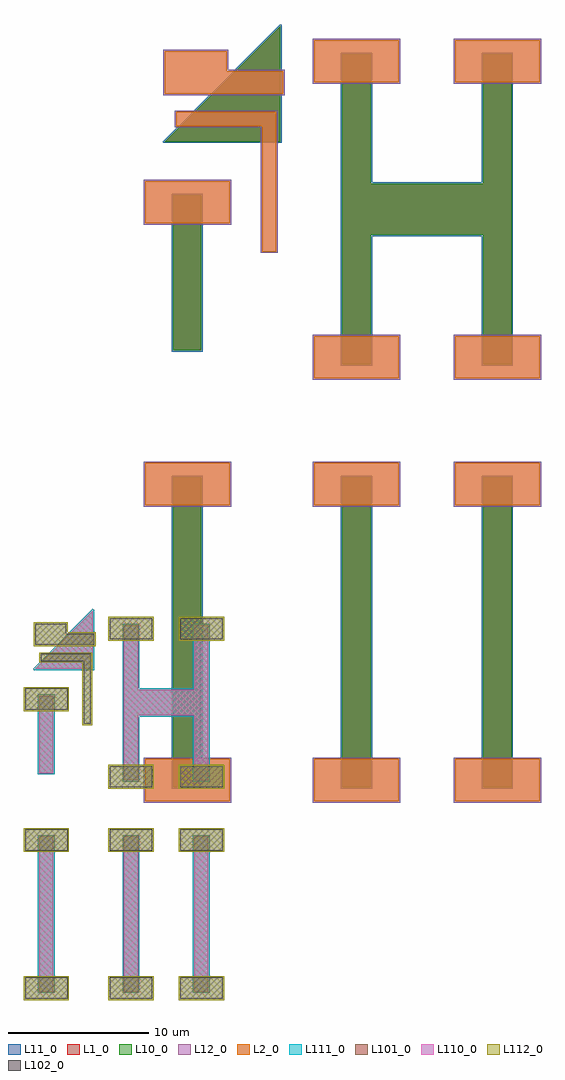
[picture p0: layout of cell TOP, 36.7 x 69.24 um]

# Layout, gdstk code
import gdstk
lib = gdstk.Library(unit=1e-6, precision=1e-09)
def R(c, l, rs):  # rectangles x0, y0, x1, y1
    for r in rs: c.add(gdstk.rectangle(r[:2], r[2:], *l))
def P(c, l, *ps):  # polygons
    for p in ps: c.add(gdstk.Polygon(p, *l))
L1_0 = (1, 0)
L2_0 = (2, 0)
L10_0 = (10, 0)
L11_0 = (11, 0)
L12_0 = (12, 0)
L101_0 = (101, 0)
L102_0 = (102, 0)
L110_0 = (110, 0)
L111_0 = (111, 0)
L112_0 = (112, 0)

top = lib.new_cell('TOP')
R(top, L1_0, [(9,9,11,20), (21,9,23,20), (31,9,33,20), (9,20,11,31), (21,20,23,31), (31,20,33,31), (21,39,23,50), (31,39,33,50), (9,40,11,51), (21.6,48.2,32.2,51.8), (21,50,23,61), (31,50,33,61)])
P(top, L1_0, [(8.4,54.8),(16.6,63),(16.6,54.8)])
R(top, L2_0, [(7,8,13,11), (19,8,25,11), (29,8,35,11), (7,29,13,32), (19,29,25,32), (29,29,35,32), (19,38,25,41), (29,38,35,41), (7,49,13,52), (19,59,25,62), (29,59,35,62)])
P(top, L2_0, [(8.4,58.2),(8.4,61.2),(12.8,61.2),(12.8,59.8),(16.8,59.8),(16.8,58.2)])
R(top, L10_0, [(9,9,11,16), (21,9,23,16), (31,9,33,16), (9,16,11,26), (21,16,23,26), (31,16,33,26), (9,26,11,31), (21,26,23,31), (31,26,33,31), (21,39,23,46), (31,39,33,46), (9,40,11,46), (9,46,11,51), (15.7,54.8,16.6,56), (21,56,23,61), (31,56,33,61)])
P(top, L10_0, [(8.4,54.8),(9.6,56),(15.7,56),(15.7,54.8)],
  [(9.6,56),(15.7,62.1),(15.7,56)],
  [(21,46),(21,56),(23,56),(23,51.8),(25.7,51.8),(25.7,48.2),(23,48.2),(23,46)],
  [(15.7,56),(15.7,62.1),(16.6,63),(16.6,56)],
  [(31,46),(31,48.2),(25.7,48.2),(25.7,51.8),(31,51.8),(31,56),(33,56),(33,46)])
R(top, L11_0, [(8.9,8.9,11.1,16), (20.9,8.9,23.1,16), (30.9,8.9,33.1,16), (8.9,16,11.1,26), (20.9,16,23.1,26), (30.9,16,33.1,26), (8.9,26,11.1,31.1), (20.9,26,23.1,31.1), (30.9,26,33.1,31.1), (20.9,38.9,23.1,46), (30.9,38.9,33.1,46), (8.9,39.9,11.1,46), (8.9,46,11.1,51.1), (15.7,54.7,16.7,56), (20.9,56,23.1,61.1), (30.9,56,33.1,61.1)])
P(top, L11_0, [(8.3,54.7),(8.258,54.8),(9.458,56),(15.7,56),(15.7,54.7)],
  [(9.458,56),(15.7,62.242),(15.7,56)],
  [(20.9,46),(20.9,56),(23.1,56),(23.1,51.9),(25.7,51.9),(25.7,48.1),(23.1,48.1),(23.1,46)],
  [(15.7,56),(15.7,62.242),(16.6,63.142),(16.7,63.1),(16.7,56)],
  [(30.9,46),(30.9,48.1),(25.7,48.1),(25.7,51.9),(30.9,51.9),(30.9,56),(33.1,56),(33.1,46)])
R(top, L12_0, [(6.9,7.9,13.1,11.1), (18.9,7.9,25.1,11.1), (28.9,7.9,35.1,11.1), (6.9,28.9,13.1,32.1), (18.9,28.9,25.1,32.1), (28.9,28.9,35.1,32.1), (18.9,37.9,25.1,41.1), (28.9,37.9,35.1,41.1), (15.2,46.9,16,55), (16,46.9,16.4,55), (6.9,48.9,13.1,52.1), (16,55,16.4,57), (16,58.1,16.9,59.9), (18.9,58.9,25.1,62.1), (28.9,58.9,35.1,62.1)])
P(top, L12_0, [(15.2,55),(15.2,55.8),(9.1,55.8),(9.1,57),(16,57),(16,55)],
  [(8.3,58.1),(8.3,61.3),(12.9,61.3),(12.9,59.9),(16,59.9),(16,58.1)])
R(top, L101_0, [(-0.5,-5.5,0.5,0), (5.5,-5.5,6.5,0), (10.5,-5.5,11.5,0), (-0.5,0,0.5,5.5), (5.5,0,6.5,5.5), (10.5,0,11.5,5.5), (5.5,9.5,6.5,15), (10.5,9.5,11.5,15), (-0.5,10,0.5,15.5), (5.8,14.1,11.1,15.9), (5.5,15,6.5,20.5), (10.5,15,11.5,20.5)])
P(top, L101_0, [(-0.8,17.4),(3.3,21.5),(3.3,17.4)])
R(top, L102_0, [(-1.5,-6,1.5,-4.5), (4.5,-6,7.5,-4.5), (9.5,-6,12.5,-4.5), (-1.5,4.5,1.5,6), (4.5,4.5,7.5,6), (9.5,4.5,12.5,6), (4.5,9,7.5,10.5), (9.5,9,12.5,10.5), (-1.5,14.5,1.5,16), (4.5,19.5,7.5,21), (9.5,19.5,12.5,21)])
P(top, L102_0, [(-0.8,19.1),(-0.8,20.6),(1.4,20.6),(1.4,19.9),(3.4,19.9),(3.4,19.1)])
R(top, L110_0, [(-0.5,-5.5,0.5,3), (5.5,-5.5,6.5,3), (10.5,-5.5,11.5,3), (-0.5,3,0.5,5.5), (5.5,3,6.5,5.5), (10.5,3,11.5,5.5), (5.5,9.5,6.5,13), (10.5,9.5,11.5,13), (-0.5,10,0.5,13), (-0.5,13,0.5,15.5)])
P(top, L110_0, [(-0.8,17.4),(3.3,21.5),(3.3,17.4)],
  [(5.5,13),(5.5,20.5),(6.5,20.5),(6.5,15.9),(10.5,15.9),(10.5,20.5),(11.5,20.5),(11.5,13),(10.5,13),(10.5,14.1),(6.5,14.1),(6.5,13)])
R(top, L111_0, [(-0.6,-5.6,0.6,3), (5.4,-5.6,6.6,3), (10.4,-5.6,11.6,3), (-0.6,3,0.6,5.6), (5.4,3,6.6,5.6), (10.4,3,11.6,5.6), (5.4,9.4,6.6,13), (10.4,9.4,11.6,13), (-0.6,9.9,0.6,13), (-0.6,13,0.6,15.6)])
P(top, L111_0, [(-0.9,17.3),(-0.942,17.4),(3.3,21.642),(3.4,21.6),(3.4,17.3)],
  [(5.4,13),(5.4,20.6),(6.6,20.6),(6.6,16),(10.4,16),(10.4,20.6),(11.6,20.6),(11.6,13),(10.4,13),(10.4,14),(6.6,14),(6.6,13)])
R(top, L112_0, [(-1.6,-6.1,1.6,-4.4), (4.4,-6.1,5.5,-4.4), (5.5,-6.1,7.6,-4.4), (9.4,-6.1,12.6,-4.4), (-1.6,4.4,1.6,6.1), (4.4,4.4,5.5,6.1), (5.5,4.4,7.6,6.1), (9.4,4.4,12.6,6.1), (4.4,8.9,5.5,10.6), (5.5,8.9,7.6,10.6), (9.4,8.9,12.6,10.6), (-1.6,14.4,1.6,16.1), (4.4,19.4,5.5,21.1), (5.5,19.4,7.6,21.1), (9.4,19.4,12.6,21.1)])
P(top, L112_0, [(2.55,13.4),(2.55,17.85),(-0.5,17.85),(-0.5,18.55),(3.25,18.55),(3.25,13.4)],
  [(-0.9,19),(-0.9,20.7),(1.5,20.7),(1.5,20),(3.5,20),(3.5,19)])
top.add(gdstk.FlexPath([(9.2,56.4),(15.8,56.4),(15.8,47)], 1, ends="flush", simple_path=True, layer=2, datatype=0))  # L2_0
top.add(gdstk.FlexPath([(-0.4,18.2),(2.9,18.2),(2.9,13.5)], 0.5, ends="flush", simple_path=True, layer=102, datatype=0))  # L102_0

lib.write_gds('TOP.gds')
